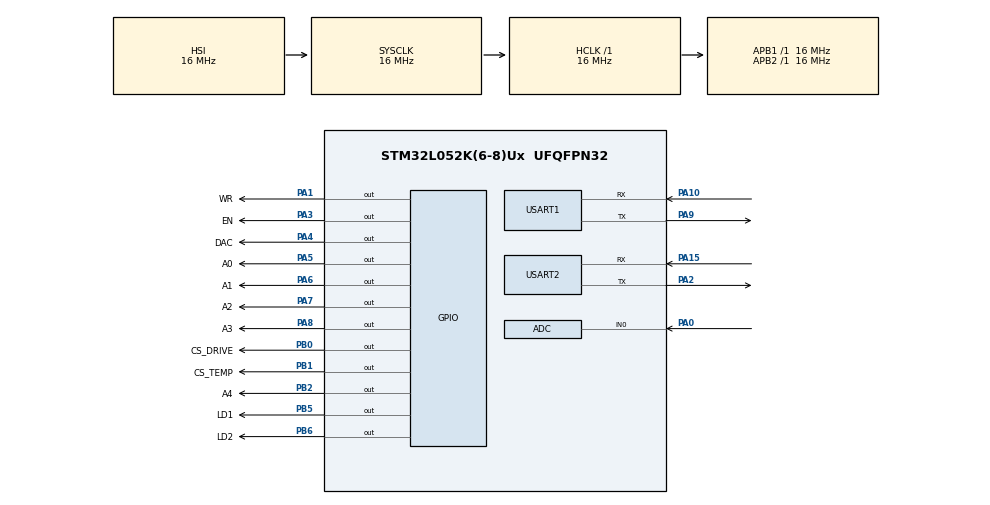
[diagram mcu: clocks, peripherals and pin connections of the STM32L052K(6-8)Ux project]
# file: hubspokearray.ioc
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ADC.ClockPrescaler=ADC_CLOCK_ASYNC_DIV32
ADC.SamplingTime=ADC_SAMPLETIME_12CYCLES_5
Mcu.Family=STM32L0
Mcu.Name=STM32L052K(6-8)Ux
Mcu.Package=UFQFPN32
NVIC.USART1_IRQn=true\:0\:0\:false\:false\:true\:true\:true\:true
NVIC.USART2_IRQn=true\:0\:0\:false\:false\:true\:true\:true\:true
PA0.Mode=IN0
PA0.Signal=ADC_IN0
PA1.GPIO_Label=WR
PA1.Signal=GPIO_Output
PA10.Mode=Asynchronous
PA10.Signal=USART1_RX
PA15.Mode=Asynchronous
PA15.Signal=USART2_RX
PA2.Mode=Asynchronous
PA2.Signal=USART2_TX
PA3.GPIO_Label=EN
PA3.Signal=GPIO_Output
PA4.GPIO_Label=DAC
PA4.Signal=GPIO_Output
PA5.GPIO_Label=A0
PA5.Signal=GPIO_Output
PA6.GPIO_Label=A1
PA6.Signal=GPIO_Output
PA7.GPIO_Label=A2
PA7.Signal=GPIO_Output
PA8.GPIO_Label=A3
PA8.Signal=GPIO_Output
PA9.Mode=Asynchronous
PA9.Signal=USART1_TX
PB0.GPIO_Label=CS_DRIVE
PB0.Signal=GPIO_Output
PB1.GPIO_Label=CS_TEMP
PB1.Signal=GPIO_Output
PB2.GPIO_Label=A4
PB2.Signal=GPIO_Output
PB5.GPIO_Label=LD1
PB5.Signal=GPIO_Output
PB6.GPIO_Label=LD2
PB6.Signal=GPIO_Output
ProjectManager.HeapSize=0x200
ProjectManager.StackSize=0x400
ProjectManager.TargetToolchain=STM32CubeIDE
RCC.AHBFreq_Value=16000000
RCC.APB1Freq_Value=16000000
RCC.APB1TimFreq_Value=16000000
RCC.APB2Freq_Value=16000000
RCC.APB2TimFreq_Value=16000000
RCC.HCLKFreq_Value=16000000
RCC.HSI16_VALUE=16000000
RCC.HSI48MClockSelection=RCC_USBCLKSOURCE_HSI48
RCC.HSI48_VALUE=48000000
RCC.HSI_VALUE=16000000
RCC.LSE_VALUE=32768
RCC.MSI_VALUE=2097000
RCC.SYSCLKFreq_VALUE=16000000
RCC.SYSCLKSource=RCC_SYSCLKSOURCE_HSI
RCC.VCOOutputFreq_Value=48000000
USART1.VirtualMode-Asynchronous=VM_ASYNC
USART2.VirtualMode-Asynchronous=VM_ASYNC
board=custom

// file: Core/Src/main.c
/* USER CODE BEGIN Header */
/**
  ******************************************************************************
  * @file           : main.c
  * @brief          : Main program body
  ******************************************************************************
  * @attention
  *
  * Copyright (c) 2025 STMicroelectronics.
  * All rights reserved.
  *
  * This software is licensed under terms that can be found in the LICENSE file
  * in the root directory of this software component.
  * If no LICENSE file comes with this software, it is provided AS-IS.
  *
  ******************************************************************************
  */
/* USER CODE END Header */
#include "main.h"

/* USER CODE BEGIN Includes */

#include "hubspoke.h"
#include <stdio.h>
#include <string.h>
#include <stdarg.h>

/* USER CODE END Includes */

ADC_HandleTypeDef hadc;

UART_HandleTypeDef huart1;
UART_HandleTypeDef huart2;

/* USER CODE BEGIN PV */

#define UART_BUFFER_SIZE 128

volatile uint8_t uart_buffer[UART_BUFFER_SIZE];
volatile uint16_t uart_head = 0;
volatile uint8_t line_received = 0;
uint8_t rx_byte;  // Temp storage for each received byte

uint32_t temps[64];

const char CMD_READTEMP[64] = "rt";
const char CMD_PRINTTEMP[64] = "pt";
const char CMD_SETTEMP[64] = "st";

uint8_t next_heater;
uint32_t last_heater_update;

uint8_t heater_values[32] = {
		0,0,0,0,0,0,0,0,
		0,0,0,0,0,0,0,0,
		1,1,1,1,1,1,1,1,
		1,1,1,1,1,1,1,1
};
/* USER CODE END PV */

void SystemClock_Config(void);
static void MX_GPIO_Init(void);
static void MX_ADC_Init(void);
static void MX_USART1_UART_Init(void);
static void MX_USART2_UART_Init(void);

int main(void)
{

  /* MCU Configuration--------------------------------------------------------*/

  /* Reset of all peripherals, Initializes the Flash interface and the Systick. */
  HAL_Init();

  /* Configure the system clock */
  SystemClock_Config();

  /* Initialize all configured peripherals */
  MX_GPIO_Init();
  MX_ADC_Init();
  MX_USART1_UART_Init();
  MX_USART2_UART_Init();
  /* USER CODE BEGIN 2 */
  HAL_GPIO_WritePin(CS_TEMP_GPIO_Port, CS_TEMP_Pin, GPIO_PIN_SET);
  HAL_GPIO_WritePin(CS_DRIVE_GPIO_Port, CS_DRIVE_Pin, GPIO_PIN_SET);
  HAL_GPIO_WritePin(WR_GPIO_Port, WR_Pin, GPIO_PIN_SET);
//  HAL_GPIO_WritePin(DAC_GPIO_Port, DAC_Pin, GPIO_PIN_SET);
  HAL_GPIO_WritePin(EN_GPIO_Port, EN_Pin, GPIO_PIN_SET);

#ifdef MAIN_BOARD
  HAL_UART_Receive_IT(&huart2, &rx_byte, 1);
#else
  HAL_UART_Receive_IT(&huart1, &rx_byte, 1);
#endif

  last_heater_update = HAL_GetTick();

  /* USER CODE END 2 */

  /* Infinite loop */
  while (1)
  {

    /* USER CODE BEGIN 3 */
	  uint32_t currenttick = HAL_GetTick();
	  if(currenttick - last_heater_update > HEATER_RETENTION){
		  set_heater(next_heater, heater_values[next_heater]);
		  next_heater ++;
		  if(next_heater == 32){
			  last_heater_update = HAL_GetTick();
			  next_heater = 0;
		  }
	  }
	    if (line_received) {
	        line_received = 0;
	        uart_buffer[uart_head] = '\0'; // Null-terminate the line

	        // Process the line
	        if(strncmp((char *)uart_buffer,CMD_PRINTTEMP, 2) == 0){
	        	read_all(temps);
	        	printtemps(temps);
	        }
	        else if(strncmp((char *)uart_buffer,CMD_READTEMP, 2) == 0){
	        	read_all(temps);
#ifdef MAIN_BOARD
	        	HAL_UART_Transmit(&huart2, (uint8_t *) temps, 4*64, HAL_MAX_DELAY);
#else
	        	HAL_UART_Transmit(&huart1, (uint8_t *) temps, 4*32, HAL_MAX_DELAY);
#endif
	        	HAL_GPIO_TogglePin(LD2_GPIO_Port, LD2_Pin);
	        }
	        else if(strncmp((char *)uart_buffer,CMD_SETTEMP, 2) == 0){
	        	HAL_GPIO_TogglePin(LD1_GPIO_Port, LD1_Pin);
	        }

	        // Reset head for next line
	        uart_head = 0;
	    }
  }
  /* USER CODE END 3 */
}

void SystemClock_Config(void)
{
  RCC_OscInitTypeDef RCC_OscInitStruct = {0};
  RCC_ClkInitTypeDef RCC_ClkInitStruct = {0};
  RCC_PeriphCLKInitTypeDef PeriphClkInit = {0};

  /** Configure the main internal regulator output voltage
  */
  __HAL_PWR_VOLTAGESCALING_CONFIG(PWR_REGULATOR_VOLTAGE_SCALE1);

  /** Initializes the RCC Oscillators according to the specified parameters
  * in the RCC_OscInitTypeDef structure.
  */
  RCC_OscInitStruct.OscillatorType = RCC_OSCILLATORTYPE_HSI;
  RCC_OscInitStruct.HSIState = RCC_HSI_ON;
  RCC_OscInitStruct.HSICalibrationValue = RCC_HSICALIBRATION_DEFAULT;
  RCC_OscInitStruct.PLL.PLLState = RCC_PLL_NONE;
  if (HAL_RCC_OscConfig(&RCC_OscInitStruct) != HAL_OK)
  {
    Error_Handler();
  }

  /** Initializes the CPU, AHB and APB buses clocks
  */
  RCC_ClkInitStruct.ClockType = RCC_CLOCKTYPE_HCLK|RCC_CLOCKTYPE_SYSCLK
                              |RCC_CLOCKTYPE_PCLK1|RCC_CLOCKTYPE_PCLK2;
  RCC_ClkInitStruct.SYSCLKSource = RCC_SYSCLKSOURCE_HSI;
  RCC_ClkInitStruct.AHBCLKDivider = RCC_SYSCLK_DIV1;
  RCC_ClkInitStruct.APB1CLKDivider = RCC_HCLK_DIV1;
  RCC_ClkInitStruct.APB2CLKDivider = RCC_HCLK_DIV1;

  if (HAL_RCC_ClockConfig(&RCC_ClkInitStruct, FLASH_LATENCY_0) != HAL_OK)
  {
    Error_Handler();
  }
  PeriphClkInit.PeriphClockSelection = RCC_PERIPHCLK_USART1|RCC_PERIPHCLK_USART2;
  PeriphClkInit.Usart1ClockSelection = RCC_USART1CLKSOURCE_PCLK2;
  PeriphClkInit.Usart2ClockSelection = RCC_USART2CLKSOURCE_PCLK1;
  if (HAL_RCCEx_PeriphCLKConfig(&PeriphClkInit) != HAL_OK)
  {
    Error_Handler();
  }
}

static void MX_ADC_Init(void)
{

  ADC_ChannelConfTypeDef sConfig = {0};

  /** Configure the global features of the ADC (Clock, Resolution, Data Alignment and number of conversion)
  */
  hadc.Instance = ADC1;
  hadc.Init.OversamplingMode = DISABLE;
  hadc.Init.ClockPrescaler = ADC_CLOCK_ASYNC_DIV32;
  hadc.Init.Resolution = ADC_RESOLUTION_12B;
  hadc.Init.SamplingTime = ADC_SAMPLETIME_12CYCLES_5;
  hadc.Init.ScanConvMode = ADC_SCAN_DIRECTION_FORWARD;
  hadc.Init.DataAlign = ADC_DATAALIGN_RIGHT;
  hadc.Init.ContinuousConvMode = DISABLE;
  hadc.Init.DiscontinuousConvMode = DISABLE;
  hadc.Init.ExternalTrigConvEdge = ADC_EXTERNALTRIGCONVEDGE_NONE;
  hadc.Init.ExternalTrigConv = ADC_SOFTWARE_START;
  hadc.Init.DMAContinuousRequests = DISABLE;
  hadc.Init.EOCSelection = ADC_EOC_SINGLE_CONV;
  hadc.Init.Overrun = ADC_OVR_DATA_PRESERVED;
  hadc.Init.LowPowerAutoWait = DISABLE;
  hadc.Init.LowPowerFrequencyMode = ENABLE;
  hadc.Init.LowPowerAutoPowerOff = DISABLE;
  if (HAL_ADC_Init(&hadc) != HAL_OK)
  {
    Error_Handler();
  }

  /** Configure for the selected ADC regular channel to be converted.
  */
  sConfig.Channel = ADC_CHANNEL_0;
  sConfig.Rank = ADC_RANK_CHANNEL_NUMBER;
  if (HAL_ADC_ConfigChannel(&hadc, &sConfig) != HAL_OK)
  {
    Error_Handler();
  }

}

static void MX_USART1_UART_Init(void)
{

  huart1.Instance = USART1;
  huart1.Init.BaudRate = 115200;
  huart1.Init.WordLength = UART_WORDLENGTH_8B;
  huart1.Init.StopBits = UART_STOPBITS_1;
  huart1.Init.Parity = UART_PARITY_NONE;
  huart1.Init.Mode = UART_MODE_TX_RX;
  huart1.Init.HwFlowCtl = UART_HWCONTROL_NONE;
  huart1.Init.OverSampling = UART_OVERSAMPLING_16;
  huart1.Init.OneBitSampling = UART_ONE_BIT_SAMPLE_DISABLE;
  huart1.AdvancedInit.AdvFeatureInit = UART_ADVFEATURE_NO_INIT;
  if (HAL_UART_Init(&huart1) != HAL_OK)
  {
    Error_Handler();
  }

}

static void MX_USART2_UART_Init(void)
{

  huart2.Instance = USART2;
  huart2.Init.BaudRate = 115200;
  huart2.Init.WordLength = UART_WORDLENGTH_8B;
  huart2.Init.StopBits = UART_STOPBITS_1;
  huart2.Init.Parity = UART_PARITY_NONE;
  huart2.Init.Mode = UART_MODE_TX_RX;
  huart2.Init.HwFlowCtl = UART_HWCONTROL_NONE;
  huart2.Init.OverSampling = UART_OVERSAMPLING_16;
  huart2.Init.OneBitSampling = UART_ONE_BIT_SAMPLE_DISABLE;
  huart2.AdvancedInit.AdvFeatureInit = UART_ADVFEATURE_NO_INIT;
  if (HAL_UART_Init(&huart2) != HAL_OK)
  {
    Error_Handler();
  }

}

static void MX_GPIO_Init(void)
{
  GPIO_InitTypeDef GPIO_InitStruct = {0};

  /* GPIO Ports Clock Enable */
  __HAL_RCC_GPIOA_CLK_ENABLE();
  __HAL_RCC_GPIOB_CLK_ENABLE();

  /*Configure GPIO pin Output Level */
  HAL_GPIO_WritePin(GPIOA, WR_Pin|EN_Pin|DAC_Pin|A0_Pin
                          |A1_Pin|A2_Pin|A3_Pin, GPIO_PIN_RESET);

  /*Configure GPIO pin Output Level */
  HAL_GPIO_WritePin(GPIOB, CS_DRIVE_Pin|CS_TEMP_Pin|A4_Pin|LD1_Pin
                          |LD2_Pin, GPIO_PIN_RESET);

  /*Configure GPIO pins : WR_Pin EN_Pin DAC_Pin A0_Pin
                           A1_Pin A2_Pin A3_Pin */
  GPIO_InitStruct.Pin = WR_Pin|EN_Pin|DAC_Pin|A0_Pin
                          |A1_Pin|A2_Pin|A3_Pin;
  GPIO_InitStruct.Mode = GPIO_MODE_OUTPUT_PP;
  GPIO_InitStruct.Pull = GPIO_NOPULL;
  GPIO_InitStruct.Speed = GPIO_SPEED_FREQ_LOW;
  HAL_GPIO_Init(GPIOA, &GPIO_InitStruct);

  /*Configure GPIO pins : CS_DRIVE_Pin CS_TEMP_Pin A4_Pin LD1_Pin
                           LD2_Pin */
  GPIO_InitStruct.Pin = CS_DRIVE_Pin|CS_TEMP_Pin|A4_Pin|LD1_Pin
                          |LD2_Pin;
  GPIO_InitStruct.Mode = GPIO_MODE_OUTPUT_PP;
  GPIO_InitStruct.Pull = GPIO_NOPULL;
  GPIO_InitStruct.Speed = GPIO_SPEED_FREQ_LOW;
  HAL_GPIO_Init(GPIOB, &GPIO_InitStruct);

}

/* USER CODE BEGIN 4 */
void DEBUG_PRINT(char * format, ...){
	char buffer[256];
	va_list args;
	va_start (args, format);
	uint8_t stringsize = vsnprintf(buffer, 256, format, args);
	HAL_UART_Transmit(&huart2,(uint8_t *)buffer,stringsize, 100);
	va_end (args);
}

void printtemps(uint32_t * temps){
	DEBUG_PRINT("Temps:\n\r");
#ifdef MAIN_BOARD
	for(uint8_t i = 0; i < 64; i++){
#else
	for(uint8_t i = 0; i < 32; i++){
#endif
		DEBUG_PRINT("%d\n\r", temps[i]);
	}
}

void HAL_UART_RxCpltCallback(UART_HandleTypeDef *huart) {
	HAL_GPIO_TogglePin(LD2_GPIO_Port, LD2_Pin);
#ifdef MAIN_BOARD
    if (huart->Instance == USART2) {
#else
    if (huart->Instance == USART1) {
#endif
        if (!line_received) {
            uart_buffer[uart_head++] = rx_byte;

            // Wrap around if needed
            if (uart_head >= UART_BUFFER_SIZE) uart_head = 0;

            // Detect end of line
            if (rx_byte == '\n' || rx_byte == '\r') {
                line_received = 1;
            }
        }

        // Restart reception for next byte
#ifdef MAIN_BOARD
        HAL_UART_Receive_IT(&huart2, &rx_byte, 1);
#else
        HAL_UART_Receive_IT(&huart1, &rx_byte, 1);
#endif
    }
}

/* USER CODE END 4 */

void Error_Handler(void)
{
  __disable_irq();
  while (1)
  {
  }
}
